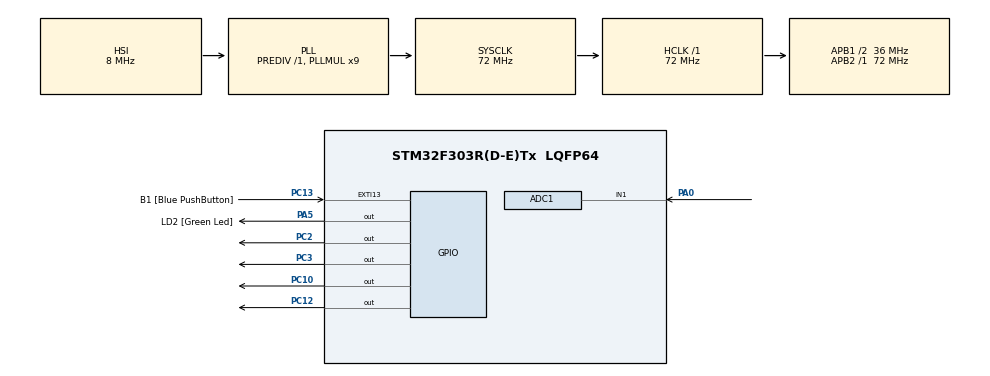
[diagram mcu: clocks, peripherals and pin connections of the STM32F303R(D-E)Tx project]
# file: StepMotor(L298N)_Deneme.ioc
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ADC1.Channel-0\#ChannelRegularConversion=ADC_CHANNEL_1
ADC1.ContinuousConvMode=ENABLE
ADC1.DMAContinuousRequests=DISABLE
ADC1.NbrOfConversionFlag=1
ADC1.Offset-0\#ChannelRegularConversion=0
ADC1.OffsetNumber-0\#ChannelRegularConversion=ADC_OFFSET_NONE
ADC1.Rank-0\#ChannelRegularConversion=1
ADC1.Resolution=ADC_RESOLUTION_10B
ADC1.SamplingTime-0\#ChannelRegularConversion=ADC_SAMPLETIME_61CYCLES_5
ADC1.SamplingTimeOPAMP-0\#ChannelRegularConversion=ADC_SAMPLETIME_61CYCLES_5
ADC1.master=1
Mcu.Family=STM32F3
Mcu.Name=STM32F303R(D-E)Tx
Mcu.Package=LQFP64
NVIC.PriorityGroup=NVIC_PRIORITYGROUP_0
PA0.Mode=IN1-Single-Ended
PA0.Signal=ADC1_IN1
PA3.Signal=TSC_G1_IO4
PA5.GPIO_Label=LD2 [Green Led]
PA5.GPIO_Mode=GPIO_MODE_OUTPUT_PP
PA5.GPIO_PuPd=GPIO_NOPULL
PA5.GPIO_Speed=GPIO_SPEED_FREQ_LOW
PA5.Signal=GPIO_Output
PB3.GPIO_Label=SWO
PB3.Signal=SYS_JTDO-TRACESWO
PC10.Signal=GPIO_Output
PC12.Signal=GPIO_Output
PC13.GPIO_Label=B1 [Blue PushButton]
PC13.GPIO_ModeDefaultEXTI=GPIO_MODE_IT_FALLING
PC13.Signal=GPXTI13
PC14-OSC32_IN.Signal=RCC_OSC32_IN
PC15-OSC32_OUT.Signal=RCC_OSC32_OUT
PC2.Signal=GPIO_Output
PC3.Signal=GPIO_Output
PF0-OSC_IN.Signal=RCC_OSC_IN
PF1-OSC_OUT.Signal=RCC_OSC_OUT
ProjectManager.HeapSize=0x200
ProjectManager.StackSize=0x400
ProjectManager.TargetToolchain=STM32CubeIDE
RCC.AHBFreq_Value=72000000
RCC.APB1CLKDivider=RCC_HCLK_DIV2
RCC.APB1Freq_Value=36000000
RCC.APB1TimFreq_Value=72000000
RCC.APB2Freq_Value=72000000
RCC.APB2TimFreq_Value=72000000
RCC.CortexFreq_Value=72000000
RCC.HCLKFreq_Value=72000000
RCC.HSE_VALUE=8000000
RCC.HSI_VALUE=8000000
RCC.LSE_VALUE=32768
RCC.PLLM=8
RCC.PLLMUL=RCC_PLL_MUL9
RCC.PLLN=336
RCC.PLLP=RCC_PLLP_DIV4
RCC.PLLQ=7
RCC.RCC_PLLsource_Clock_Source_FROM_HSE=RCC_HSE_PREDIV_DIV2
RCC.SYSCLKFreq_VALUE=72000000
RCC.SYSCLKSourceVirtual=RCC_SYSCLKSOURCE_PLLCLK
RCC.USBFreq_Value=72000000
board=NUCLEO-F303RE

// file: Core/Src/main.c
/* USER CODE BEGIN Header */
/**
  ******************************************************************************
  * @file           : main.c
  * @brief          : Main program body
  ******************************************************************************
  * @attention
  *
  * <h2><center>&copy; Copyright (c) 2020 STMicroelectronics.
  * All rights reserved.</center></h2>
  *
  * This software component is licensed by ST under BSD 3-Clause license,
  * the "License"; You may not use this file except in compliance with the
  * License. You may obtain a copy of the License at:
  *                        opensource.org/licenses/BSD-3-Clause
  *
  ******************************************************************************
  */
/* USER CODE END Header */
#include "main.h"

/* USER CODE BEGIN Includes */
uint8_t i = 0;
uint16_t adcvalue = 0;
/* USER CODE END Includes */

ADC_HandleTypeDef hadc1;

void SystemClock_Config(void);
static void MX_GPIO_Init(void);
static void MX_ADC1_Init(void);

/* USER CODE BEGIN 0 */
void Servo_ForwardDirection()
{
	if(adcvalue > 700 && adcvalue <1100)
{
	if(i == 1)
	{
		HAL_GPIO_WritePin(GPIOC, GPIO_PIN_10, GPIO_PIN_SET);
		HAL_GPIO_WritePin(GPIOC, GPIO_PIN_12, GPIO_PIN_RESET);
		HAL_GPIO_WritePin(GPIOC, GPIO_PIN_2, GPIO_PIN_RESET);
		HAL_GPIO_WritePin(GPIOC, GPIO_PIN_3, GPIO_PIN_RESET);
		HAL_Delay(1);
	}
	if(i == 2)
	{
		HAL_GPIO_WritePin(GPIOC, GPIO_PIN_10, GPIO_PIN_SET);
		HAL_GPIO_WritePin(GPIOC, GPIO_PIN_12, GPIO_PIN_SET);
		HAL_GPIO_WritePin(GPIOC, GPIO_PIN_2, GPIO_PIN_RESET);
		HAL_GPIO_WritePin(GPIOC, GPIO_PIN_3, GPIO_PIN_RESET);
		HAL_Delay(1);
	}
	if(i == 3)
		{
			HAL_GPIO_WritePin(GPIOC, GPIO_PIN_10, GPIO_PIN_RESET);
			HAL_GPIO_WritePin(GPIOC, GPIO_PIN_12, GPIO_PIN_SET);
			HAL_GPIO_WritePin(GPIOC, GPIO_PIN_2, GPIO_PIN_RESET);
			HAL_GPIO_WritePin(GPIOC, GPIO_PIN_3, GPIO_PIN_RESET);
			HAL_Delay(1);
		}
	if(i == 4)
		{
			HAL_GPIO_WritePin(GPIOC, GPIO_PIN_10, GPIO_PIN_RESET);
			HAL_GPIO_WritePin(GPIOC, GPIO_PIN_12, GPIO_PIN_SET);
			HAL_GPIO_WritePin(GPIOC, GPIO_PIN_2, GPIO_PIN_SET);
			HAL_GPIO_WritePin(GPIOC, GPIO_PIN_3, GPIO_PIN_RESET);
			HAL_Delay(1);
		}
	if(i == 5)
		{
			HAL_GPIO_WritePin(GPIOC, GPIO_PIN_10, GPIO_PIN_RESET);
			HAL_GPIO_WritePin(GPIOC, GPIO_PIN_12, GPIO_PIN_RESET);
			HAL_GPIO_WritePin(GPIOC, GPIO_PIN_2, GPIO_PIN_SET);
			HAL_GPIO_WritePin(GPIOC, GPIO_PIN_3, GPIO_PIN_RESET);
			HAL_Delay(1);
		}
	if(i == 6)
		{
			HAL_GPIO_WritePin(GPIOC, GPIO_PIN_10, GPIO_PIN_RESET);
			HAL_GPIO_WritePin(GPIOC, GPIO_PIN_12, GPIO_PIN_RESET);
			HAL_GPIO_WritePin(GPIOC, GPIO_PIN_2, GPIO_PIN_SET);
			HAL_GPIO_WritePin(GPIOC, GPIO_PIN_3, GPIO_PIN_SET);
			HAL_Delay(1);
		}
	if(i == 7)
		{
			HAL_GPIO_WritePin(GPIOC, GPIO_PIN_10, GPIO_PIN_RESET);
			HAL_GPIO_WritePin(GPIOC, GPIO_PIN_12, GPIO_PIN_RESET);
			HAL_GPIO_WritePin(GPIOC, GPIO_PIN_2, GPIO_PIN_RESET);
			HAL_GPIO_WritePin(GPIOC, GPIO_PIN_3, GPIO_PIN_SET);
			HAL_Delay(1);
		}
	if(i == 8)
		{
			HAL_GPIO_WritePin(GPIOC, GPIO_PIN_10, GPIO_PIN_SET);
			HAL_GPIO_WritePin(GPIOC, GPIO_PIN_12, GPIO_PIN_RESET);
			HAL_GPIO_WritePin(GPIOC, GPIO_PIN_2, GPIO_PIN_RESET);
			HAL_GPIO_WritePin(GPIOC, GPIO_PIN_3, GPIO_PIN_SET);
			HAL_Delay(1);
			i = 0;
		}
		i++;
	}
}
void Servo_BackDirection()
{
	if(adcvalue >= 0 && adcvalue <300)
	{
		if(i == 1)
		{
			HAL_GPIO_WritePin(GPIOC, GPIO_PIN_10, GPIO_PIN_SET);
			HAL_GPIO_WritePin(GPIOC, GPIO_PIN_12, GPIO_PIN_RESET);
			HAL_GPIO_WritePin(GPIOC, GPIO_PIN_2, GPIO_PIN_RESET);
			HAL_GPIO_WritePin(GPIOC, GPIO_PIN_3, GPIO_PIN_RESET);
			HAL_Delay(1);
			i = 9;
		}
		if(i == 2)
		{
			HAL_GPIO_WritePin(GPIOC, GPIO_PIN_10, GPIO_PIN_SET);
			HAL_GPIO_WritePin(GPIOC, GPIO_PIN_12, GPIO_PIN_SET);
			HAL_GPIO_WritePin(GPIOC, GPIO_PIN_2, GPIO_PIN_RESET);
			HAL_GPIO_WritePin(GPIOC, GPIO_PIN_3, GPIO_PIN_RESET);
			HAL_Delay(1);
		}
		if(i == 3)
			{
				HAL_GPIO_WritePin(GPIOC, GPIO_PIN_10, GPIO_PIN_RESET);
				HAL_GPIO_WritePin(GPIOC, GPIO_PIN_12, GPIO_PIN_SET);
				HAL_GPIO_WritePin(GPIOC, GPIO_PIN_2, GPIO_PIN_RESET);
				HAL_GPIO_WritePin(GPIOC, GPIO_PIN_3, GPIO_PIN_RESET);
				HAL_Delay(1);
			}
		if(i == 4)
			{
				HAL_GPIO_WritePin(GPIOC, GPIO_PIN_10, GPIO_PIN_RESET);
				HAL_GPIO_WritePin(GPIOC, GPIO_PIN_12, GPIO_PIN_SET);
				HAL_GPIO_WritePin(GPIOC, GPIO_PIN_2, GPIO_PIN_SET);
				HAL_GPIO_WritePin(GPIOC, GPIO_PIN_3, GPIO_PIN_RESET);
				HAL_Delay(1);
			}
		if(i == 5)
			{
				HAL_GPIO_WritePin(GPIOC, GPIO_PIN_10, GPIO_PIN_RESET);
				HAL_GPIO_WritePin(GPIOC, GPIO_PIN_12, GPIO_PIN_RESET);
				HAL_GPIO_WritePin(GPIOC, GPIO_PIN_2, GPIO_PIN_SET);
				HAL_GPIO_WritePin(GPIOC, GPIO_PIN_3, GPIO_PIN_RESET);
				HAL_Delay(1);
			}
		if(i == 6)
			{
				HAL_GPIO_WritePin(GPIOC, GPIO_PIN_10, GPIO_PIN_RESET);
				HAL_GPIO_WritePin(GPIOC, GPIO_PIN_12, GPIO_PIN_RESET);
				HAL_GPIO_WritePin(GPIOC, GPIO_PIN_2, GPIO_PIN_SET);
				HAL_GPIO_WritePin(GPIOC, GPIO_PIN_3, GPIO_PIN_SET);
				HAL_Delay(1);
			}
		if(i == 7)
			{
				HAL_GPIO_WritePin(GPIOC, GPIO_PIN_10, GPIO_PIN_RESET);
				HAL_GPIO_WritePin(GPIOC, GPIO_PIN_12, GPIO_PIN_RESET);
				HAL_GPIO_WritePin(GPIOC, GPIO_PIN_2, GPIO_PIN_RESET);
				HAL_GPIO_WritePin(GPIOC, GPIO_PIN_3, GPIO_PIN_SET);
				HAL_Delay(1);
			}
		if(i == 8)
			{
				HAL_GPIO_WritePin(GPIOC, GPIO_PIN_10, GPIO_PIN_SET);
				HAL_GPIO_WritePin(GPIOC, GPIO_PIN_12, GPIO_PIN_RESET);
				HAL_GPIO_WritePin(GPIOC, GPIO_PIN_2, GPIO_PIN_RESET);
				HAL_GPIO_WritePin(GPIOC, GPIO_PIN_3, GPIO_PIN_SET);
				HAL_Delay(1);

			}
			i--;
		}

}
void ADC_Calculate()
{
	if(HAL_ADC_PollForConversion(&hadc1, 10000) == HAL_OK)
	{
		adcvalue = HAL_ADC_GetValue(&hadc1);
	}
}

/* USER CODE END 0 */

int main(void)
{

  /* MCU Configuration--------------------------------------------------------*/

  /* Reset of all peripherals, Initializes the Flash interface and the Systick. */
  HAL_Init();

  /* Configure the system clock */
  SystemClock_Config();

  /* Initialize all configured peripherals */
  MX_GPIO_Init();
  MX_ADC1_Init();
  /* USER CODE BEGIN 2 */
  HAL_ADC_Start(&hadc1);
  /* USER CODE END 2 */

  /* Infinite loop */
  while (1)
  {

    /* USER CODE BEGIN 3 */
	  ADC_Calculate();
	  Servo_BackDirection();
	  Servo_ForwardDirection();
	  HAL_Delay(10);
  }
  /* USER CODE END 3 */
}

void SystemClock_Config(void)
{
  RCC_OscInitTypeDef RCC_OscInitStruct = {0};
  RCC_ClkInitTypeDef RCC_ClkInitStruct = {0};
  RCC_PeriphCLKInitTypeDef PeriphClkInit = {0};

  /** Initializes the RCC Oscillators according to the specified parameters
  * in the RCC_OscInitTypeDef structure.
  */
  RCC_OscInitStruct.OscillatorType = RCC_OSCILLATORTYPE_HSI;
  RCC_OscInitStruct.HSIState = RCC_HSI_ON;
  RCC_OscInitStruct.HSICalibrationValue = RCC_HSICALIBRATION_DEFAULT;
  RCC_OscInitStruct.PLL.PLLState = RCC_PLL_ON;
  RCC_OscInitStruct.PLL.PLLSource = RCC_PLLSOURCE_HSI;
  RCC_OscInitStruct.PLL.PLLMUL = RCC_PLL_MUL9;
  RCC_OscInitStruct.PLL.PREDIV = RCC_PREDIV_DIV1;
  if (HAL_RCC_OscConfig(&RCC_OscInitStruct) != HAL_OK)
  {
    Error_Handler();
  }
  /** Initializes the CPU, AHB and APB buses clocks
  */
  RCC_ClkInitStruct.ClockType = RCC_CLOCKTYPE_HCLK|RCC_CLOCKTYPE_SYSCLK
                              |RCC_CLOCKTYPE_PCLK1|RCC_CLOCKTYPE_PCLK2;
  RCC_ClkInitStruct.SYSCLKSource = RCC_SYSCLKSOURCE_PLLCLK;
  RCC_ClkInitStruct.AHBCLKDivider = RCC_SYSCLK_DIV1;
  RCC_ClkInitStruct.APB1CLKDivider = RCC_HCLK_DIV2;
  RCC_ClkInitStruct.APB2CLKDivider = RCC_HCLK_DIV1;

  if (HAL_RCC_ClockConfig(&RCC_ClkInitStruct, FLASH_LATENCY_2) != HAL_OK)
  {
    Error_Handler();
  }
  PeriphClkInit.PeriphClockSelection = RCC_PERIPHCLK_ADC12;
  PeriphClkInit.Adc12ClockSelection = RCC_ADC12PLLCLK_DIV1;
  if (HAL_RCCEx_PeriphCLKConfig(&PeriphClkInit) != HAL_OK)
  {
    Error_Handler();
  }
}

static void MX_ADC1_Init(void)
{

  ADC_MultiModeTypeDef multimode = {0};
  ADC_ChannelConfTypeDef sConfig = {0};

  /** Common config
  */
  hadc1.Instance = ADC1;
  hadc1.Init.ClockPrescaler = ADC_CLOCK_ASYNC_DIV1;
  hadc1.Init.Resolution = ADC_RESOLUTION_10B;
  hadc1.Init.ScanConvMode = ADC_SCAN_DISABLE;
  hadc1.Init.ContinuousConvMode = ENABLE;
  hadc1.Init.DiscontinuousConvMode = DISABLE;
  hadc1.Init.ExternalTrigConvEdge = ADC_EXTERNALTRIGCONVEDGE_NONE;
  hadc1.Init.ExternalTrigConv = ADC_SOFTWARE_START;
  hadc1.Init.DataAlign = ADC_DATAALIGN_RIGHT;
  hadc1.Init.NbrOfConversion = 1;
  hadc1.Init.DMAContinuousRequests = DISABLE;
  hadc1.Init.EOCSelection = ADC_EOC_SINGLE_CONV;
  hadc1.Init.LowPowerAutoWait = DISABLE;
  hadc1.Init.Overrun = ADC_OVR_DATA_OVERWRITTEN;
  if (HAL_ADC_Init(&hadc1) != HAL_OK)
  {
    Error_Handler();
  }
  /** Configure the ADC multi-mode
  */
  multimode.Mode = ADC_MODE_INDEPENDENT;
  if (HAL_ADCEx_MultiModeConfigChannel(&hadc1, &multimode) != HAL_OK)
  {
    Error_Handler();
  }
  /** Configure Regular Channel
  */
  sConfig.Channel = ADC_CHANNEL_1;
  sConfig.Rank = ADC_REGULAR_RANK_1;
  sConfig.SingleDiff = ADC_SINGLE_ENDED;
  sConfig.SamplingTime = ADC_SAMPLETIME_61CYCLES_5;
  sConfig.OffsetNumber = ADC_OFFSET_NONE;
  sConfig.Offset = 0;
  if (HAL_ADC_ConfigChannel(&hadc1, &sConfig) != HAL_OK)
  {
    Error_Handler();
  }

}

static void MX_GPIO_Init(void)
{
  GPIO_InitTypeDef GPIO_InitStruct = {0};

  /* GPIO Ports Clock Enable */
  __HAL_RCC_GPIOC_CLK_ENABLE();
  __HAL_RCC_GPIOF_CLK_ENABLE();
  __HAL_RCC_GPIOA_CLK_ENABLE();
  __HAL_RCC_GPIOB_CLK_ENABLE();

  /*Configure GPIO pin Output Level */
  HAL_GPIO_WritePin(GPIOC, GPIO_PIN_2|GPIO_PIN_3|GPIO_PIN_10|GPIO_PIN_12, GPIO_PIN_RESET);

  /*Configure GPIO pin Output Level */
  HAL_GPIO_WritePin(LD2_GPIO_Port, LD2_Pin, GPIO_PIN_RESET);

  /*Configure GPIO pin : B1_Pin */
  GPIO_InitStruct.Pin = B1_Pin;
  GPIO_InitStruct.Mode = GPIO_MODE_IT_FALLING;
  GPIO_InitStruct.Pull = GPIO_NOPULL;
  HAL_GPIO_Init(B1_GPIO_Port, &GPIO_InitStruct);

  /*Configure GPIO pins : PC2 PC3 PC10 PC12 */
  GPIO_InitStruct.Pin = GPIO_PIN_2|GPIO_PIN_3|GPIO_PIN_10|GPIO_PIN_12;
  GPIO_InitStruct.Mode = GPIO_MODE_OUTPUT_PP;
  GPIO_InitStruct.Pull = GPIO_NOPULL;
  GPIO_InitStruct.Speed = GPIO_SPEED_FREQ_LOW;
  HAL_GPIO_Init(GPIOC, &GPIO_InitStruct);

  /*Configure GPIO pin : PA3 */
  GPIO_InitStruct.Pin = GPIO_PIN_3;
  GPIO_InitStruct.Mode = GPIO_MODE_AF_PP;
  GPIO_InitStruct.Pull = GPIO_NOPULL;
  GPIO_InitStruct.Speed = GPIO_SPEED_FREQ_LOW;
  GPIO_InitStruct.Alternate = GPIO_AF3_TSC;
  HAL_GPIO_Init(GPIOA, &GPIO_InitStruct);

  /*Configure GPIO pin : LD2_Pin */
  GPIO_InitStruct.Pin = LD2_Pin;
  GPIO_InitStruct.Mode = GPIO_MODE_OUTPUT_PP;
  GPIO_InitStruct.Pull = GPIO_NOPULL;
  GPIO_InitStruct.Speed = GPIO_SPEED_FREQ_LOW;
  HAL_GPIO_Init(LD2_GPIO_Port, &GPIO_InitStruct);

}

void Error_Handler(void)
{
}

/************************ (C) COPYRIGHT STMicroelectronics *****END OF FILE****/
